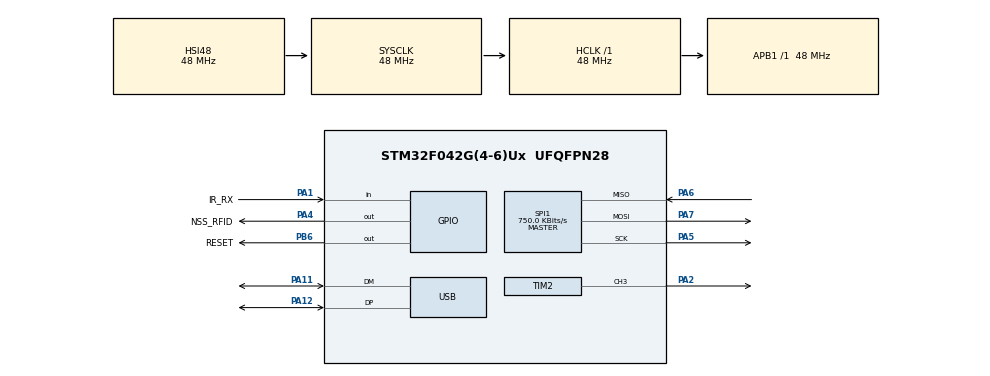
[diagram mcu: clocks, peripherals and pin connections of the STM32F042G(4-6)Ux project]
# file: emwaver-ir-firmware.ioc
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Mcu.Family=STM32F0
Mcu.Name=STM32F042G(4-6)Ux
Mcu.Package=UFQFPN28
NVIC.TIM3_IRQn=true\:0\:0\:false\:false\:true\:true\:true\:true
NVIC.USB_IRQn=true\:3\:0\:true\:false\:true\:false\:true\:true
PA1.GPIO_Label=IR_RX
PA1.Signal=GPIO_Input
PA11.Mode=Device
PA11.Signal=USB_DM
PA12.Mode=Device
PA12.Signal=USB_DP
PA2.GPIO_PuPd=GPIO_PULLDOWN
PA2.Signal=S_TIM2_CH3
PA4.GPIO_Label=NSS_RFID
PA4.PinState=GPIO_PIN_SET
PA4.Signal=GPIO_Output
PA5.Mode=Full_Duplex_Master
PA5.Signal=SPI1_SCK
PA6.Mode=Full_Duplex_Master
PA6.Signal=SPI1_MISO
PA7.Mode=Full_Duplex_Master
PA7.Signal=SPI1_MOSI
PB6.GPIO_Label=RESET
PB6.Signal=GPIO_Output
ProjectManager.HeapSize=0x200
ProjectManager.StackSize=0x400
ProjectManager.TargetToolchain=STM32CubeIDE
RCC.AHBFreq_Value=48000000
RCC.APB1Freq_Value=48000000
RCC.APB1TimFreq_Value=48000000
RCC.HCLKFreq_Value=48000000
RCC.SYSCLKFreq_VALUE=48000000
RCC.SYSCLKSource=RCC_SYSCLKSOURCE_HSI48
SH.S_TIM2_CH3.0=TIM2_CH3,PWM Generation3 CH3
SPI1.BaudRatePrescaler=SPI_BAUDRATEPRESCALER_64
SPI1.CalculateBaudRate=750.0 KBits/s
SPI1.DataSize=SPI_DATASIZE_8BIT
SPI1.Direction=SPI_DIRECTION_2LINES
SPI1.Mode=SPI_MODE_MASTER
SPI1.VirtualType=VM_MASTER
TIM1.Period=0xFFFF - 1
TIM1.Prescaler=48-1
TIM2.Channel-PWM\ Generation3\ CH3=TIM_CHANNEL_3
TIM2.Period=1263-1
TIM2.Pulse-PWM\ Generation3\ CH3=(1263-1)/2
TIM3.Period=480-1
USB_DEVICE.APP_RX_DATA_SIZE=64
USB_DEVICE.APP_TX_DATA_SIZE=64
USB_DEVICE.CLASS_NAME_FS=CDC
USB_DEVICE.VirtualMode=Cdc
USB_DEVICE.VirtualModeFS=Cdc_FS
VP_SYS_VS_PINREMAP.Mode=PINREMAP
VP_TIM1_VS_ClockSourceINT.Mode=Internal
VP_TIM2_VS_ClockSourceINT.Mode=Internal
VP_TIM3_VS_ClockSourceINT.Mode=Internal
VP_USB_DEVICE_VS_USB_DEVICE_CDC_FS.Mode=CDC_FS
board=custom

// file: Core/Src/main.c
/* USER CODE BEGIN Header */
/**
  ******************************************************************************
  * @file           : main.c
  * @brief          : Main program body
  ******************************************************************************
  * @attention
  *
  * Copyright (c) 2024 STMicroelectronics.
  * All rights reserved.
  *
  * This software is licensed under terms that can be found in the LICENSE file
  * in the root directory of this software component.
  * If no LICENSE file comes with this software, it is provided AS-IS.
  *
  ******************************************************************************
  */
/* USER CODE END Header */
#include "main.h"
#include "usb_device.h"

/* USER CODE BEGIN Includes */
#include <stdlib.h>
#include <string.h>
#include <stdbool.h>
#include <stdint.h>
#include "usbd_cdc_if.h"
/* USER CODE END Includes */

/* USER CODE BEGIN PD */
#define CDC_TIMEOUT 100
#define EMWAVER_FIRMWARE_WELCOME "Welcome to IR Waver firmware"
#define EMWAVER_FIRMWARE_VERSION "1.0.0"
/* USER CODE END PD */

SPI_HandleTypeDef hspi1;

TIM_HandleTypeDef htim1;
TIM_HandleTypeDef htim2;
TIM_HandleTypeDef htim3;

/* USER CODE BEGIN PV */
static GPIO_TypeDef *samplerPort = GPIOA;
static uint16_t samplerPin = GPIO_PIN_0;
volatile uint32_t selectedChannel = TIM_CHANNEL_3; // Default to channel 3 for backward compatibility

uint8_t * bulk_packet = NULL;
size_t bulk_packet_len = 0;

volatile uint8_t* bufferA = NULL;
volatile uint8_t* bufferB = NULL;
volatile uint8_t* currentBuffer = NULL;
volatile uint8_t* transmitBuffer = NULL;
volatile int bufferIndex = 0;
volatile uint8_t bufferReady = 0;

volatile CDC_Buffer_Type cdc_buf_type = CDC_BUFFER_PACKET;
/* USER CODE END PV */

void SystemClock_Config(void);
static void MX_GPIO_Init(void);
static void MX_TIM2_Init(void);
static void MX_TIM1_Init(void);
static void MX_TIM3_Init(void);
static void MX_SPI1_Init(void);

/* USER CODE BEGIN 0 */

#define ISM_BURST_MAX 64u

typedef enum {
    ISM_MODE_IDLE = 0,
    ISM_MODE_RAW_SAMPLING = 1,
} ism_mode_t;

static volatile ism_mode_t ism_mode = ISM_MODE_IDLE;

static void free_bulk_packet(void)
{
    if (bulk_packet != NULL) {
        free(bulk_packet);
        bulk_packet = NULL;
        bulk_packet_len = 0;
    }
}

static void command_send_ok(const uint8_t *data, size_t len)
{
    // Match stm/emwaver-ism-firmware framing: always send 64-byte packets.
    // The desktop/mobile buffer logic treats USB as fixed 64B framing.
    if (!data || len == 0) {
        uint8_t packet[64] = {0};
        packet[0] = 0x00;
        (void)CDC_SendResponsePkt_FS(packet, (uint16_t)sizeof(packet), CDC_TIMEOUT);
        return;
    }

    size_t offset = 0;
    while (offset < len) {
        uint8_t packet[64] = {0};
        size_t chunk = len - offset;
        if (chunk > sizeof(packet)) {
            chunk = sizeof(packet);
        }
        memcpy(packet, data + offset, chunk);
        (void)CDC_SendResponsePkt_FS(packet, (uint16_t)sizeof(packet), CDC_TIMEOUT);
        offset += chunk;
    }
}

static void command_send_err(const char *msg)
{
    (void)msg;
    // Match the registry firmware behavior: errors are best-effort no-ops.
    const uint8_t packet[64] = {0};
    (void)CDC_SendResponsePkt_FS((uint8_t *)packet, (uint16_t)sizeof(packet), CDC_TIMEOUT);
}

static void ISR_Sampler_raw(void)
{
    static uint8_t bitIndex = 0;
    static uint8_t currentByte = 0;

    uint8_t pin_state = HAL_GPIO_ReadPin(samplerPort, samplerPin);

    if (pin_state) {
        currentByte |= (uint8_t)(1u << bitIndex);
    } else {
        currentByte &= (uint8_t)~(1u << bitIndex);
    }

    bitIndex++;
    if (bitIndex >= 8) {
        currentBuffer[bufferIndex] = currentByte;
        bufferIndex++;
        bitIndex = 0;
        currentByte = 0;

        if (bufferIndex >= 64) {
            transmitBuffer = currentBuffer;
            currentBuffer = (currentBuffer == bufferA) ? bufferB : bufferA;
            bufferIndex = 0;
            bufferReady = 1;
        }
    }
}

static void startPWM_TIM2(uint32_t channel)
{
    TIM2->CR1 |= TIM_CR1_CEN;
    switch (channel) {
        case TIM_CHANNEL_1:
            TIM2->CCER |= TIM_CCER_CC1E;
            break;
        case TIM_CHANNEL_2:
            TIM2->CCER |= TIM_CCER_CC2E;
            break;
        case TIM_CHANNEL_3:
            TIM2->CCER |= TIM_CCER_CC3E;
            break;
        case TIM_CHANNEL_4:
            TIM2->CCER |= TIM_CCER_CC4E;
            break;
        default:
            break;
    }
}

static void stopPWM_TIM2(uint32_t channel)
{
    switch (channel) {
        case TIM_CHANNEL_1:
            TIM2->CCER &= (uint16_t)~TIM_CCER_CC1E;
            break;
        case TIM_CHANNEL_2:
            TIM2->CCER &= (uint16_t)~TIM_CCER_CC2E;
            break;
        case TIM_CHANNEL_3:
            TIM2->CCER &= (uint16_t)~TIM_CCER_CC3E;
            break;
        case TIM_CHANNEL_4:
            TIM2->CCER &= (uint16_t)~TIM_CCER_CC4E;
            break;
        default:
            break;
    }
}

static void ISR_Sampler_writing(void)
{
    static uint8_t bitIndex = 0;
    static uint8_t currentByte = 0;

    if (CDC_GetRxBufferBytesAvailable_FS() > 0) {
        if (bitIndex == 0) {
            (void)CDC_ReadRxBuffer_FS(&currentByte, 1);
        }

        if (currentByte & (uint8_t)(1u << bitIndex)) {
            startPWM_TIM2(selectedChannel);
        } else {
            stopPWM_TIM2(selectedChannel);
        }

        bitIndex++;
        if (bitIndex > 7) {
            bitIndex = 0;
        }
    } else {
        stopPWM_TIM2(selectedChannel);
    }
}

void HAL_TIM_PeriodElapsedCallback(TIM_HandleTypeDef *htim)
{
    if (htim == &htim3) {
        switch (CDC_GetBufferType_FS()) {
            case CDC_BUFFER_CIRCULAR:
                ISR_Sampler_writing();
                break;
            case CDC_BUFFER_DOUBLE:
                ISR_Sampler_raw();
                break;
            case CDC_BUFFER_PACKET:
            default:
                break;
        }
    }
}

static void enable_gpio_clock(GPIO_TypeDef *port)
{
    if (port == GPIOA) {
        __HAL_RCC_GPIOA_CLK_ENABLE();
    } else if (port == GPIOB) {
        __HAL_RCC_GPIOB_CLK_ENABLE();
    }
}

static void configurePin(GPIO_TypeDef *port, uint16_t pin, uint32_t mode, uint32_t pull)
{
    GPIO_InitTypeDef GPIO_InitStruct = {0};

    enable_gpio_clock(port);
    GPIO_InitStruct.Pin = pin;
    GPIO_InitStruct.Mode = mode;
    GPIO_InitStruct.Pull = pull;
    GPIO_InitStruct.Speed = GPIO_SPEED_FREQ_HIGH;
    if (mode == GPIO_MODE_AF_PP) {
        GPIO_InitStruct.Alternate = GPIO_AF2_TIM2;
    }
    HAL_GPIO_Init(port, &GPIO_InitStruct);
}

static void setDutyCycle_TIM2(uint32_t channel, uint8_t percentage)
{
    if (percentage < 1) percentage = 1;
    if (percentage > 100) percentage = 100;

    uint32_t period = TIM2->ARR;
    uint32_t new_ccr = (period * (uint32_t)percentage) / 100u;

    switch (channel) {
        case TIM_CHANNEL_1:
            TIM2->CCR1 = new_ccr;
            break;
        case TIM_CHANNEL_2:
            TIM2->CCR2 = new_ccr;
            break;
        case TIM_CHANNEL_3:
            TIM2->CCR3 = new_ccr;
            break;
        case TIM_CHANNEL_4:
            TIM2->CCR4 = new_ccr;
            break;
        default:
            break;
    }
}

static void stop_sampling(void)
{
    HAL_TIM_Base_Stop_IT(&htim3);
    CDC_SetBufferType_FS(CDC_BUFFER_PACKET);

    free((void *)bufferA);
    free((void *)bufferB);
    bufferA = NULL;
    bufferB = NULL;
    currentBuffer = NULL;
    transmitBuffer = NULL;
    bufferIndex = 0;
    bufferReady = 0;
    ism_mode = ISM_MODE_IDLE;
}

static bool decode_encoded_pin(int encoded, GPIO_TypeDef **out_port, uint16_t *out_pin)
{
    if (!out_port || !out_pin) {
        return false;
    }
    if (encoded >= 0 && encoded <= 15) {
        *out_port = GPIOA;
        *out_pin = (uint16_t)(1u << encoded);
        return true;
    }
    if (encoded >= 16 && encoded <= 31) {
        *out_port = GPIOB;
        *out_pin = (uint16_t)(1u << (encoded - 16));
        return true;
    }
    return false;
}

static bool pin_mask_to_index(uint16_t pin_mask, uint8_t *out_index)
{
    if (!out_index) {
        return false;
    }
    if (pin_mask == 0) {
        return false;
    }
    for (uint8_t i = 0; i < 16; i++) {
        if (pin_mask == (uint16_t)(1u << i)) {
            *out_index = i;
            return true;
        }
    }
    return false;
}

static void gpio_write_latch(GPIO_TypeDef *port, uint16_t pin_mask, bool value)
{
    if (!port) {
        return;
    }
    if (value) {
        port->BSRR = pin_mask;
    } else {
        port->BSRR = (uint32_t)pin_mask << 16;
    }
}

static void disable_tim2_output_if_needed(GPIO_TypeDef *port, uint8_t pin_index)
{
    if (port != GPIOA) {
        return;
    }

    uint32_t channel = 0;
    uint16_t ccer_mask = 0;
    switch (pin_index) {
        case 0:
            channel = TIM_CHANNEL_1;
            ccer_mask = TIM_CCER_CC1E;
            break;
        case 1:
            channel = TIM_CHANNEL_2;
            ccer_mask = TIM_CCER_CC2E;
            break;
        case 2:
            channel = TIM_CHANNEL_3;
            ccer_mask = TIM_CCER_CC3E;
            break;
        case 3:
            channel = TIM_CHANNEL_4;
            ccer_mask = TIM_CCER_CC4E;
            break;
        default:
            return;
    }

    TIM2->CCER &= (uint16_t)~ccer_mask;
    (void)HAL_TIM_PWM_Stop(&htim2, channel);
}

static void gpio_set_mode(GPIO_TypeDef *port, uint16_t pin_mask, uint32_t mode, uint32_t pull)
{
    if (!port) {
        return;
    }
    enable_gpio_clock(port);
    HAL_GPIO_DeInit(port, pin_mask);
    configurePin(port, pin_mask, mode, pull);
}

// Minimal CLI parsing (copied/adapted from stm/emwaver-firmware command_registry.c).
#define CLI_MAX_ARGS 10
#define CLI_MAX_POSITIONAL 4
#define CLI_COMMAND_BUFFER 256

typedef struct {
    const char *key;
    const char *value;
} cli_arg_view_t;

typedef struct {
    char *verb;
    cli_arg_view_t args[CLI_MAX_ARGS];
    size_t arg_count;
    char *positional[CLI_MAX_POSITIONAL];
    size_t positional_count;
} cli_command_view_t;

static bool is_cli_space(char ch)
{
    return ch == ' ' || ch == '\t' || ch == '\r' || ch == '\n';
}

static char *next_token(char **cursor)
{
    if (!cursor || !*cursor) {
        return NULL;
    }

    char *p = *cursor;
    while (*p && is_cli_space(*p)) {
        p++;
    }
    if (!*p) {
        *cursor = p;
        return NULL;
    }

    char *start = p;
    while (*p && !is_cli_space(*p)) {
        p++;
    }
    if (*p) {
        *p = '\0';
        p++;
    }
    *cursor = p;
    return start;
}

static bool parse_cli_command_inplace(char *line, cli_command_view_t *out)
{
    if (!line || !out) {
        return false;
    }

    memset(out, 0, sizeof(*out));

    char *cursor = line;
    char *verb = next_token(&cursor);
    if (!verb) {
        return false;
    }
    out->verb = verb;

    char *pending = NULL;
    while (1) {
        char *token = pending ? pending : next_token(&cursor);
        pending = NULL;
        if (!token) {
            break;
        }

        if (strncmp(token, "--", 2) == 0) {
            char *key = token + 2;
            const char *value = NULL;
            char *eq = strchr(key, '=');
            if (eq) {
                *eq = '\0';
                value = eq + 1;
            } else {
                char *next = next_token(&cursor);
                if (!next) {
                    value = "1";
                } else if (strncmp(next, "--", 2) == 0) {
                    value = "1";
                    pending = next;
                } else {
                    value = next;
                }
            }
            if (out->arg_count < CLI_MAX_ARGS) {
                out->args[out->arg_count].key = key;
                out->args[out->arg_count].value = value ? value : "";
                out->arg_count++;
            }
        } else {
            if (out->positional_count < CLI_MAX_POSITIONAL) {
                out->positional[out->positional_count] = token;
                out->positional_count++;
            }
        }
    }

    return true;
}

static const char *cli_get_arg_view(const cli_command_view_t *cmd, const char *key)
{
    if (!cmd || !key) {
        return NULL;
    }
    for (size_t i = 0; i < cmd->arg_count; ++i) {
        if (cmd->args[i].key && strcmp(cmd->args[i].key, key) == 0) {
            return cmd->args[i].value;
        }
    }
    return NULL;
}

static bool cli_parse_int(const char *str, int *out_value)
{
    if (!str || !out_value) {
        return false;
    }
    char *end = NULL;
    long value = strtol(str, &end, 0);
    if (end == str || (end && *end != '\0')) {
        return false;
    }
    *out_value = (int)value;
    return true;
}

static int from_hex(char c)
{
    if (c >= '0' && c <= '9') return c - '0';
    if (c >= 'a' && c <= 'f') return 10 + (c - 'a');
    if (c >= 'A' && c <= 'F') return 10 + (c - 'A');
    return -1;
}

static bool cli_parse_hex_bytes(const char *str, uint8_t *out, size_t max_len, size_t *out_len)
{
    if (!str || !out || !out_len) {
        return false;
    }

    size_t written = 0;
    int pending = -1;

    for (const char *p = str; *p; ++p) {
        char c = *p;

        if (c == '0' && (p[1] == 'x' || p[1] == 'X')) {
            ++p;
            continue;
        }

        if (c == ' ' || c == '\t' || c == '\r' || c == '\n' || c == ',' || c == ':' || c == '_' || c == '-') {
            continue;
        }

        int nib = from_hex(c);
        if (nib < 0) {
            return false;
        }

        if (pending < 0) {
            pending = nib;
        } else {
            if (written >= max_len) {
                return false;
            }
            out[written++] = (uint8_t)((pending << 4) | nib);
            pending = -1;
        }
    }

    if (pending >= 0) {
        return false;
    }

    *out_len = written;
    return true;
}

/* USER CODE END 0 */

int main(void)
{

  /* MCU Configuration--------------------------------------------------------*/

  /* Reset of all peripherals, Initializes the Flash interface and the Systick. */
  HAL_Init();

  /* Configure the system clock */
  SystemClock_Config();

  /* Initialize all configured peripherals */
  MX_GPIO_Init();
  MX_TIM2_Init();
  MX_TIM1_Init();
  MX_USB_DEVICE_Init();
  MX_TIM3_Init();
  MX_SPI1_Init();

  /* Infinite loop */
  /* USER CODE BEGIN WHILE */
  while (1) {
      if (ism_mode == ISM_MODE_RAW_SAMPLING) {
          if (bufferReady == 1) {
              while (CDC_Transmit_FS((uint8_t *)transmitBuffer, 64) == USBD_BUSY) {
              }
              bufferReady = 0;
          }

          if (bulk_packet != NULL) {
              // `sample stop`
              if (bulk_packet_len >= 11 && memcmp((const void *)bulk_packet, "sample stop", 11) == 0) {
                  stop_sampling();
                  command_send_ok(NULL, 0);
              }
              free_bulk_packet();
          }
          continue;
      }

      if (bulk_packet == NULL) {
          continue;
      }

      if (bulk_packet_len < 1) {
          command_send_err(NULL);
          free_bulk_packet();
          continue;
      }

      static char scratch_line[CLI_COMMAND_BUFFER + 1];
      size_t line_len = bulk_packet_len;
      if (line_len > CLI_COMMAND_BUFFER) {
          line_len = CLI_COMMAND_BUFFER;
      }
      size_t effective = 0;
      for (size_t i = 0; i < line_len; i++) {
          if (bulk_packet[i] == '\0') {
              break;
          }
          scratch_line[i] = (char)bulk_packet[i];
          effective++;
      }
      scratch_line[effective] = '\0';
      // Trim trailing whitespace/newlines.
      while (effective > 0 && is_cli_space(scratch_line[effective - 1])) {
          scratch_line[effective - 1] = '\0';
          effective--;
      }

      cli_command_view_t cmd;
      if (!parse_cli_command_inplace(scratch_line, &cmd)) {
          command_send_err(NULL);
          free_bulk_packet();
          continue;
      }

      if (cmd.verb && strcmp(cmd.verb, "version") == 0) {
          static const char msg[] = EMWAVER_FIRMWARE_WELCOME " " EMWAVER_FIRMWARE_VERSION;
          command_send_ok((const uint8_t *)msg, sizeof(msg) - 1u);
          free_bulk_packet();
          continue;
      }

	      if (cmd.verb && strcmp(cmd.verb, "sample") == 0 && cmd.positional_count > 0) {
	          const char *sub = cmd.positional[0];
	          if (strcmp(sub, "start") == 0) {
              int pin_enc = -1;
              const char *pin_str = cli_get_arg_view(&cmd, "pin");
              if (!cli_parse_int(pin_str, &pin_enc)) {
                  command_send_err(NULL);
                  free_bulk_packet();
                  continue;
              }

              GPIO_TypeDef *port = NULL;
              uint16_t pin_mask = 0;
              if (!decode_encoded_pin(pin_enc, &port, &pin_mask)) {
                  command_send_err(NULL);
                  free_bulk_packet();
                  continue;
              }

              uint32_t pull = (port == GPIOA && pin_mask == GPIO_PIN_1) ? GPIO_NOPULL : GPIO_PULLDOWN;
              configurePin(port, pin_mask, GPIO_MODE_INPUT, pull);
              samplerPort = port;
              samplerPin = pin_mask;

              bufferA = (uint8_t *)malloc(64);
              bufferB = (uint8_t *)malloc(64);
              if (bufferA == NULL || bufferB == NULL) {
                  command_send_err(NULL);
                  free((void *)bufferA);
                  free((void *)bufferB);
                  bufferA = NULL;
                  bufferB = NULL;
                  free_bulk_packet();
                  continue;
              }
              currentBuffer = bufferA;
              transmitBuffer = NULL;
              bufferIndex = 0;
              bufferReady = 0;

              CDC_SetBufferType_FS(CDC_BUFFER_DOUBLE);
              ism_mode = ISM_MODE_RAW_SAMPLING;
              HAL_TIM_Base_Start_IT(&htim3);
              command_send_ok(NULL, 0);
          } else if (strcmp(sub, "stop") == 0) {
              command_send_ok(NULL, 0);
          } else {
              command_send_err(NULL);
          }

          free_bulk_packet();
          continue;
      }

      if (cmd.verb && strcmp(cmd.verb, "gpio") == 0 && cmd.positional_count > 0) {
          const char *sub = cmd.positional[0];
          if (strcmp(sub, "in") == 0 || strcmp(sub, "out") == 0 ||
              strcmp(sub, "read") == 0 || strcmp(sub, "high") == 0 ||
              strcmp(sub, "low") == 0 || strcmp(sub, "pull") == 0 ||
              strcmp(sub, "info") == 0) {
              int pin_enc = -1;
              const char *pin_str = cli_get_arg_view(&cmd, "pin");
              if (!cli_parse_int(pin_str, &pin_enc)) {
                  command_send_err(NULL);
                  free_bulk_packet();
                  continue;
              }

              GPIO_TypeDef *port = NULL;
              uint16_t pin_mask = 0;
              if (!decode_encoded_pin(pin_enc, &port, &pin_mask)) {
                  command_send_err(NULL);
                  free_bulk_packet();
                  continue;
              }

              uint8_t pin_index = 0;
              if (!pin_mask_to_index(pin_mask, &pin_index)) {
                  command_send_err(NULL);
                  free_bulk_packet();
                  continue;
              }

              disable_tim2_output_if_needed(port, pin_index);

              if (strcmp(sub, "in") == 0) {
                  gpio_set_mode(port, pin_mask, GPIO_MODE_INPUT, GPIO_NOPULL);
                  command_send_ok(NULL, 0);
              } else if (strcmp(sub, "out") == 0) {
                  gpio_set_mode(port, pin_mask, GPIO_MODE_OUTPUT_PP, GPIO_NOPULL);
                  command_send_ok(NULL, 0);
              } else if (strcmp(sub, "pull") == 0) {
                  int pull_mode = 0;
                  const char *mode_str = cli_get_arg_view(&cmd, "mode");
                  if (!cli_parse_int(mode_str, &pull_mode)) {
                      command_send_err(NULL);
                      free_bulk_packet();
                      continue;
                  }
                  uint32_t pull = GPIO_NOPULL;
                  if (pull_mode == 1) {
                      pull = GPIO_PULLUP;
                  } else if (pull_mode == 2) {
                      pull = GPIO_PULLDOWN;
                  } else if (pull_mode != 0) {
                      command_send_err(NULL);
                      free_bulk_packet();
                      continue;
                  }
                  gpio_set_mode(port, pin_mask, GPIO_MODE_INPUT, pull);
                  command_send_ok(NULL, 0);
              } else if (strcmp(sub, "read") == 0) {
                  gpio_set_mode(port, pin_mask, GPIO_MODE_INPUT, GPIO_NOPULL);
                  uint8_t out = (uint8_t)HAL_GPIO_ReadPin(port, pin_mask);
                  command_send_ok(&out, 1);
              } else if (strcmp(sub, "high") == 0 || strcmp(sub, "low") == 0) {
                  bool value = (strcmp(sub, "high") == 0);
                  gpio_write_latch(port, pin_mask, value);
                  gpio_set_mode(port, pin_mask, GPIO_MODE_OUTPUT_PP, GPIO_NOPULL);
                  HAL_GPIO_WritePin(port, pin_mask, value ? GPIO_PIN_SET : GPIO_PIN_RESET);
                  uint8_t out = (uint8_t)HAL_GPIO_ReadPin(port, pin_mask);
                  command_send_ok(&out, 1);
              } else if (strcmp(sub, "info") == 0) {
                  enable_gpio_clock(port);
                  uint32_t moder = port->MODER;
                  uint32_t otyper = port->OTYPER;
                  uint32_t pupdr = port->PUPDR;
                  uint32_t idr = port->IDR;
                  uint32_t odr = port->ODR;
                  uint32_t afr = (pin_index < 8) ? port->AFR[0] : port->AFR[1];

                  uint8_t mode = (uint8_t)((moder >> (pin_index * 2)) & 0x03);
                  uint8_t otype = (uint8_t)((otyper >> pin_index) & 0x01);
                  uint8_t pupd = (uint8_t)((pupdr >> (pin_index * 2)) & 0x03);
                  uint8_t idr_bit = (uint8_t)((idr >> pin_index) & 0x01);
                  uint8_t odr_bit = (uint8_t)((odr >> pin_index) & 0x01);
                  uint8_t af = (uint8_t)((afr >> ((pin_index % 8) * 4)) & 0x0F);

                  uint8_t response[6] = {mode, otype, pupd, af, idr_bit, odr_bit};
                  command_send_ok(response, sizeof(response));
              } else {
                  command_send_err(NULL);
              }

              free_bulk_packet();
              continue;
          }

          if (strcmp(sub, "R") == 0 && cmd.positional_count >= 3) {
              int port_int = 0;
              int pin_int = 0;
              if (!cli_parse_int(cmd.positional[1], &port_int) || !cli_parse_int(cmd.positional[2], &pin_int)) {
                  command_send_err(NULL);
                  free_bulk_packet();
                  continue;
              }
              GPIO_TypeDef *port = (port_int == 0) ? GPIOA : (port_int == 1) ? GPIOB : NULL;
              if (!port || pin_int < 0 || pin_int > 15) {
                  command_send_err(NULL);
                  free_bulk_packet();
                  continue;
              }
              uint16_t pin_mask = (uint16_t)(1u << (uint8_t)pin_int);
              disable_tim2_output_if_needed(port, (uint8_t)pin_int);
              gpio_set_mode(port, pin_mask, GPIO_MODE_INPUT, GPIO_NOPULL);
              uint8_t out = (uint8_t)HAL_GPIO_ReadPin(port, pin_mask);
              command_send_ok(&out, 1);
              free_bulk_packet();
              continue;
          }

          if (strcmp(sub, "W") == 0 && cmd.positional_count >= 4) {
              int port_int = 0;
              int pin_int = 0;
              int value_int = 0;
              if (!cli_parse_int(cmd.positional[1], &port_int) ||
                  !cli_parse_int(cmd.positional[2], &pin_int) ||
                  !cli_parse_int(cmd.positional[3], &value_int)) {
                  command_send_err(NULL);
                  free_bulk_packet();
                  continue;
              }
              GPIO_TypeDef *port = (port_int == 0) ? GPIOA : (port_int == 1) ? GPIOB : NULL;
              if (!port || pin_int < 0 || pin_int > 15) {
                  command_send_err(NULL);
                  free_bulk_packet();
                  continue;
              }
              uint16_t pin_mask = (uint16_t)(1u << (uint8_t)pin_int);
              disable_tim2_output_if_needed(port, (uint8_t)pin_int);
              bool value = value_int ? true : false;
              gpio_write_latch(port, pin_mask, value);
              gpio_set_mode(port, pin_mask, GPIO_MODE_OUTPUT_PP, GPIO_NOPULL);
              HAL_GPIO_WritePin(port, pin_mask, value ? GPIO_PIN_SET : GPIO_PIN_RESET);
              uint8_t out = (uint8_t)HAL_GPIO_ReadPin(port, pin_mask);
              command_send_ok(&out, 1);
              free_bulk_packet();
              continue;
          }

          if (strcmp(sub, "I") == 0 && cmd.positional_count >= 3) {
              int port_int = 0;
              int pin_int = 0;
              if (!cli_parse_int(cmd.positional[1], &port_int) || !cli_parse_int(cmd.positional[2], &pin_int)) {
                  command_send_err(NULL);
                  free_bulk_packet();
                  continue;
              }
              GPIO_TypeDef *port = (port_int == 0) ? GPIOA : (port_int == 1) ? GPIOB : NULL;
              if (!port || pin_int < 0 || pin_int > 15) {
                  command_send_err(NULL);
                  free_bulk_packet();
                  continue;
              }
              enable_gpio_clock(port);
              uint32_t moder = port->MODER;
              uint32_t otyper = port->OTYPER;
              uint32_t pupdr = port->PUPDR;
              uint32_t idr = port->IDR;
              uint32_t odr = port->ODR;
              uint32_t afr = (pin_int < 8) ? port->AFR[0] : port->AFR[1];

              uint8_t mode = (uint8_t)((moder >> (pin_int * 2)) & 0x03);
              uint8_t otype = (uint8_t)((otyper >> pin_int) & 0x01);
              uint8_t pupd = (uint8_t)((pupdr >> (pin_int * 2)) & 0x03);
              uint8_t idr_bit = (uint8_t)((idr >> pin_int) & 0x01);
              uint8_t odr_bit = (uint8_t)((odr >> pin_int) & 0x01);
              uint8_t af = (uint8_t)((afr >> ((pin_int % 8) * 4)) & 0x0F);

              uint8_t response[6] = {mode, otype, pupd, af, idr_bit, odr_bit};
              command_send_ok(response, sizeof(response));
              free_bulk_packet();
              continue;
          }

          command_send_err(NULL);
          free_bulk_packet();
          continue;
      }

      if (cmd.verb && strcmp(cmd.verb, "transmit") == 0 && cmd.positional_count > 0) {
          const char *sub = cmd.positional[0];
          if (strcmp(sub, "start") == 0) {
              int pin_enc = -1;
              const char *pin_str = cli_get_arg_view(&cmd, "pin");
              if (!cli_parse_int(pin_str, &pin_enc)) {
                  command_send_err(NULL);
                  free_bulk_packet();
                  continue;
              }
              if (pin_enc < 0 || pin_enc > 3) {
                  command_send_err(NULL);
                  free_bulk_packet();
                  continue;
              }

              uint32_t tim_channel = 0;
              uint16_t gpio_pin = 0;
              switch (pin_enc) {
                  case 0: tim_channel = TIM_CHANNEL_1; gpio_pin = GPIO_PIN_0; break;
                  case 1: tim_channel = TIM_CHANNEL_2; gpio_pin = GPIO_PIN_1; break;
                  case 2: tim_channel = TIM_CHANNEL_3; gpio_pin = GPIO_PIN_2; break;
                  case 3: tim_channel = TIM_CHANNEL_4; gpio_pin = GPIO_PIN_3; break;
              }

              // Keep the legacy "tran" flow:
              // - switch to circular RX buffer
              // - wait for initial fill (or timeout)
              // - enable TIM3 ISR which drains RX buffer into PWM gating
              // - block until RX buffer drains to 0
              configurePin(GPIOA, gpio_pin, GPIO_MODE_AF_PP, GPIO_PULLDOWN);
              setDutyCycle_TIM2(tim_channel, 50);
              selectedChannel = tim_channel;
              (void)HAL_TIM_PWM_Start(&htim2, tim_channel);

              CDC_InitRxBuffer_FS();
              CDC_SetBufferType_FS(CDC_BUFFER_CIRCULAR);

              uint32_t start = HAL_GetTick();
              while (CDC_GetRxBufferBytesAvailable_FS() < 250) {
                  if ((HAL_GetTick() - start) > 2000) {
                      break;
                  }
              }

              HAL_TIM_Base_Start_IT(&htim3);
              while (CDC_GetRxBufferBytesAvailable_FS() != 0) {
              }

              HAL_TIM_Base_Stop_IT(&htim3);
              CDC_SetBufferType_FS(CDC_BUFFER_PACKET);
              stopPWM_TIM2(tim_channel);
              CDC_FlushRxBuffer_FS();
              CDC_FreeRxBuffer_FS();

              command_send_ok(NULL, 0);
          } else if (strcmp(sub, "stop") == 0) {
              command_send_ok(NULL, 0);
          } else {
              command_send_err(NULL);
          }

          free_bulk_packet();
          continue;
      }

      command_send_err(NULL);
      free_bulk_packet();
  }
  /* USER CODE END 3 */
}

void SystemClock_Config(void)
{
  RCC_OscInitTypeDef RCC_OscInitStruct = {0};
  RCC_ClkInitTypeDef RCC_ClkInitStruct = {0};
  RCC_PeriphCLKInitTypeDef PeriphClkInit = {0};

  /** Initializes the RCC Oscillators according to the specified parameters
  * in the RCC_OscInitTypeDef structure.
  */
  RCC_OscInitStruct.OscillatorType = RCC_OSCILLATORTYPE_HSI48;
  RCC_OscInitStruct.HSI48State = RCC_HSI48_ON;
  RCC_OscInitStruct.PLL.PLLState = RCC_PLL_NONE;
  if (HAL_RCC_OscConfig(&RCC_OscInitStruct) != HAL_OK)
  {
    Error_Handler();
  }

  /** Initializes the CPU, AHB and APB buses clocks
  */
  RCC_ClkInitStruct.ClockType = RCC_CLOCKTYPE_HCLK|RCC_CLOCKTYPE_SYSCLK
                              |RCC_CLOCKTYPE_PCLK1;
  RCC_ClkInitStruct.SYSCLKSource = RCC_SYSCLKSOURCE_HSI48;
  RCC_ClkInitStruct.AHBCLKDivider = RCC_SYSCLK_DIV1;
  RCC_ClkInitStruct.APB1CLKDivider = RCC_HCLK_DIV1;

  if (HAL_RCC_ClockConfig(&RCC_ClkInitStruct, FLASH_LATENCY_1) != HAL_OK)
  {
    Error_Handler();
  }
  PeriphClkInit.PeriphClockSelection = RCC_PERIPHCLK_USB;
  PeriphClkInit.UsbClockSelection = RCC_USBCLKSOURCE_HSI48;

  if (HAL_RCCEx_PeriphCLKConfig(&PeriphClkInit) != HAL_OK)
  {
    Error_Handler();
  }
}

static void MX_SPI1_Init(void)
{

  /* SPI1 parameter configuration*/
  hspi1.Instance = SPI1;
  hspi1.Init.Mode = SPI_MODE_MASTER;
  hspi1.Init.Direction = SPI_DIRECTION_2LINES;
  hspi1.Init.DataSize = SPI_DATASIZE_8BIT;
  hspi1.Init.CLKPolarity = SPI_POLARITY_LOW;
  hspi1.Init.CLKPhase = SPI_PHASE_1EDGE;
  hspi1.Init.NSS = SPI_NSS_SOFT;
  hspi1.Init.BaudRatePrescaler = SPI_BAUDRATEPRESCALER_64;
  hspi1.Init.FirstBit = SPI_FIRSTBIT_MSB;
  hspi1.Init.TIMode = SPI_TIMODE_DISABLE;
  hspi1.Init.CRCCalculation = SPI_CRCCALCULATION_DISABLE;
  hspi1.Init.CRCPolynomial = 7;
  hspi1.Init.CRCLength = SPI_CRC_LENGTH_DATASIZE;
  hspi1.Init.NSSPMode = SPI_NSS_PULSE_DISABLE;
  if (HAL_SPI_Init(&hspi1) != HAL_OK)
  {
    Error_Handler();
  }

}

static void MX_TIM1_Init(void)
{

  TIM_ClockConfigTypeDef sClockSourceConfig = {0};
  TIM_MasterConfigTypeDef sMasterConfig = {0};

  htim1.Instance = TIM1;
  htim1.Init.Prescaler = 48-1;
  htim1.Init.CounterMode = TIM_COUNTERMODE_UP;
  htim1.Init.Period = 0xFFFF - 1;
  htim1.Init.ClockDivision = TIM_CLOCKDIVISION_DIV1;
  htim1.Init.RepetitionCounter = 0;
  htim1.Init.AutoReloadPreload = TIM_AUTORELOAD_PRELOAD_DISABLE;
  if (HAL_TIM_Base_Init(&htim1) != HAL_OK)
  {
    Error_Handler();
  }
  sClockSourceConfig.ClockSource = TIM_CLOCKSOURCE_INTERNAL;
  if (HAL_TIM_ConfigClockSource(&htim1, &sClockSourceConfig) != HAL_OK)
  {
    Error_Handler();
  }
  sMasterConfig.MasterOutputTrigger = TIM_TRGO_RESET;
  sMasterConfig.MasterSlaveMode = TIM_MASTERSLAVEMODE_DISABLE;
  if (HAL_TIMEx_MasterConfigSynchronization(&htim1, &sMasterConfig) != HAL_OK)
  {
    Error_Handler();
  }

}

static void MX_TIM2_Init(void)
{

  TIM_ClockConfigTypeDef sClockSourceConfig = {0};
  TIM_MasterConfigTypeDef sMasterConfig = {0};
  TIM_OC_InitTypeDef sConfigOC = {0};

  htim2.Instance = TIM2;
  htim2.Init.Prescaler = 0;
  htim2.Init.CounterMode = TIM_COUNTERMODE_UP;
  htim2.Init.Period = 1263-1;
  htim2.Init.ClockDivision = TIM_CLOCKDIVISION_DIV1;
  htim2.Init.AutoReloadPreload = TIM_AUTORELOAD_PRELOAD_DISABLE;
  if (HAL_TIM_Base_Init(&htim2) != HAL_OK)
  {
    Error_Handler();
  }
  sClockSourceConfig.ClockSource = TIM_CLOCKSOURCE_INTERNAL;
  if (HAL_TIM_ConfigClockSource(&htim2, &sClockSourceConfig) != HAL_OK)
  {
    Error_Handler();
  }
  if (HAL_TIM_PWM_Init(&htim2) != HAL_OK)
  {
    Error_Handler();
  }
  sMasterConfig.MasterOutputTrigger = TIM_TRGO_RESET;
  sMasterConfig.MasterSlaveMode = TIM_MASTERSLAVEMODE_DISABLE;
  if (HAL_TIMEx_MasterConfigSynchronization(&htim2, &sMasterConfig) != HAL_OK)
  {
    Error_Handler();
  }
  sConfigOC.OCMode = TIM_OCMODE_PWM1;
  sConfigOC.Pulse = (1263-1)/2;
  sConfigOC.OCPolarity = TIM_OCPOLARITY_HIGH;
  sConfigOC.OCFastMode = TIM_OCFAST_DISABLE;
  if (HAL_TIM_PWM_ConfigChannel(&htim2, &sConfigOC, TIM_CHANNEL_3) != HAL_OK)
  {
    Error_Handler();
  }
  /* USER CODE BEGIN TIM2_Init 2 */
  // Configure Channel 1 (PA0)
  if (HAL_TIM_PWM_ConfigChannel(&htim2, &sConfigOC, TIM_CHANNEL_1) != HAL_OK)
  {
    Error_Handler();
  }

  // Configure Channel 2 (PA1)
  if (HAL_TIM_PWM_ConfigChannel(&htim2, &sConfigOC, TIM_CHANNEL_2) != HAL_OK)
  {
    Error_Handler();
  }

  // Configure Channel 3 (PA2)
  if (HAL_TIM_PWM_ConfigChannel(&htim2, &sConfigOC, TIM_CHANNEL_3) != HAL_OK)
  {
    Error_Handler();
  }

  // Configure Channel 4 (PA3)
  if (HAL_TIM_PWM_ConfigChannel(&htim2, &sConfigOC, TIM_CHANNEL_4) != HAL_OK)
  {
    Error_Handler();
  }
  /* USER CODE END TIM2_Init 2 */
  HAL_TIM_MspPostInit(&htim2);

}

static void MX_TIM3_Init(void)
{

  TIM_ClockConfigTypeDef sClockSourceConfig = {0};
  TIM_MasterConfigTypeDef sMasterConfig = {0};

  htim3.Instance = TIM3;
  htim3.Init.Prescaler = 0;
  htim3.Init.CounterMode = TIM_COUNTERMODE_UP;
  htim3.Init.Period = 480-1;
  htim3.Init.ClockDivision = TIM_CLOCKDIVISION_DIV1;
  htim3.Init.AutoReloadPreload = TIM_AUTORELOAD_PRELOAD_DISABLE;
  if (HAL_TIM_Base_Init(&htim3) != HAL_OK)
  {
    Error_Handler();
  }
  sClockSourceConfig.ClockSource = TIM_CLOCKSOURCE_INTERNAL;
  if (HAL_TIM_ConfigClockSource(&htim3, &sClockSourceConfig) != HAL_OK)
  {
    Error_Handler();
  }
  sMasterConfig.MasterOutputTrigger = TIM_TRGO_RESET;
  sMasterConfig.MasterSlaveMode = TIM_MASTERSLAVEMODE_DISABLE;
  if (HAL_TIMEx_MasterConfigSynchronization(&htim3, &sMasterConfig) != HAL_OK)
  {
    Error_Handler();
  }

}

static void MX_GPIO_Init(void)
{
  GPIO_InitTypeDef GPIO_InitStruct = {0};
/* USER CODE BEGIN MX_GPIO_Init_1 */
  // VCTL (antenna switch): PB0 low selects the 433 MHz antenna path.
/* USER CODE END MX_GPIO_Init_1 */

  /* GPIO Ports Clock Enable */
  __HAL_RCC_GPIOA_CLK_ENABLE();
  __HAL_RCC_GPIOB_CLK_ENABLE();

  /* USER CODE BEGIN MX_GPIO_Init_1b */
  // Drive VCTL low as early as possible (before configuring the pin) to avoid glitches.
  HAL_GPIO_WritePin(GPIOB, GPIO_PIN_0, GPIO_PIN_RESET);
  /* USER CODE END MX_GPIO_Init_1b */

  /*Configure GPIO pin Output Level */
  HAL_GPIO_WritePin(NSS_RFID_GPIO_Port, NSS_RFID_Pin, GPIO_PIN_SET);

  /*Configure GPIO pin Output Level */
  HAL_GPIO_WritePin(RESET_GPIO_Port, RESET_Pin, GPIO_PIN_RESET);

  /*Configure GPIO pin : IR_RX_Pin */
  GPIO_InitStruct.Pin = IR_RX_Pin;
  GPIO_InitStruct.Mode = GPIO_MODE_INPUT;
  GPIO_InitStruct.Pull = GPIO_NOPULL;
  HAL_GPIO_Init(IR_RX_GPIO_Port, &GPIO_InitStruct);

  /*Configure GPIO pin : NSS_RFID_Pin */
  GPIO_InitStruct.Pin = NSS_RFID_Pin;
  GPIO_InitStruct.Mode = GPIO_MODE_OUTPUT_PP;
  GPIO_InitStruct.Pull = GPIO_NOPULL;
  GPIO_InitStruct.Speed = GPIO_SPEED_FREQ_HIGH;
  HAL_GPIO_Init(NSS_RFID_GPIO_Port, &GPIO_InitStruct);

  /*Configure GPIO pin : RESET_Pin */
  GPIO_InitStruct.Pin = RESET_Pin;
  GPIO_InitStruct.Mode = GPIO_MODE_OUTPUT_PP;
  GPIO_InitStruct.Pull = GPIO_NOPULL;
  GPIO_InitStruct.Speed = GPIO_SPEED_FREQ_LOW;
  HAL_GPIO_Init(RESET_GPIO_Port, &GPIO_InitStruct);

/* USER CODE BEGIN MX_GPIO_Init_2 */
  /*Configure GPIO pin : PB0 (VCTL) */
  GPIO_InitStruct.Pin = GPIO_PIN_0;
  GPIO_InitStruct.Mode = GPIO_MODE_OUTPUT_PP;
  GPIO_InitStruct.Pull = GPIO_NOPULL;
  GPIO_InitStruct.Speed = GPIO_SPEED_FREQ_LOW;
  HAL_GPIO_Init(GPIOB, &GPIO_InitStruct);
/* USER CODE END MX_GPIO_Init_2 */
}

void Error_Handler(void)
{
  __disable_irq();
  while (1)
  {
  }
}
